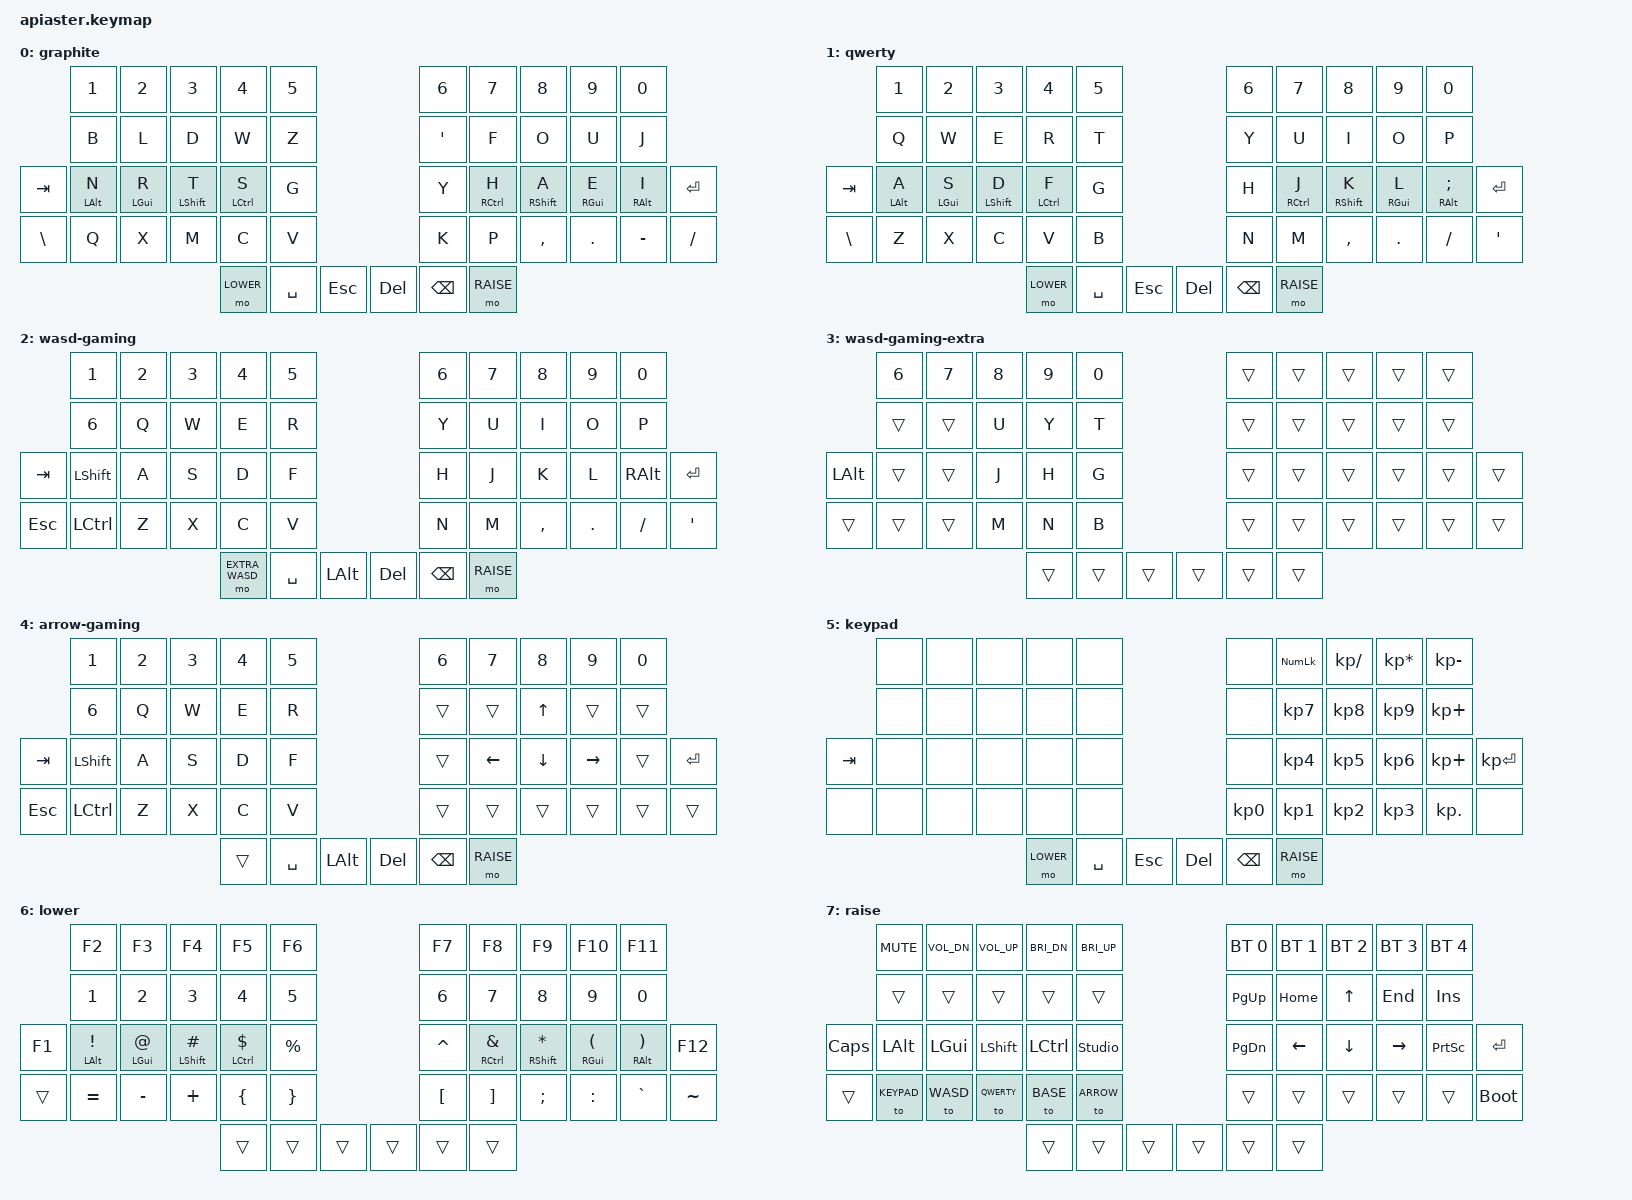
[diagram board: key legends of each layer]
#include <behaviors.dtsi>
#include <dt-bindings/zmk/keys.h>
#include <dt-bindings/zmk/bt.h>

#define BASE 0
#define QWERTY 1
#define WASD 2
#define EXTRA_WASD 3
#define ARROW 4
#define KEYPAD 5
#define LOWER 6
#define RAISE 7

#define KEYS_L 0 1 2 3 4 10 11 12 13 14 20 21 22 23 24 25 32 33 34 35 36 37
#define KEYS_R 5 6 7 8 9 15 16 17 18 19 26 27 28 29 30 31 38 39 40 41 42 43
#define THUMBS_L 44 45 46
#define THUMBS_R 47 48 49

/ {    
    behaviors {
        hl: home_row_hold_tap_left {
            compatible = "zmk,behavior-hold-tap";
            #binding-cells = <2>;
            flavor = "balanced";
            tapping-term-ms = <200>;
            quick-tap-ms = <175>;                // repeat on tap-into-hold
            require-prior-idle-ms = <20>;
            bindings = <&kp>, <&kp>;
            hold-trigger-key-positions = <KEYS_R THUMBS_R>;
            hold-trigger-on-release;             // delay positional check until key-release
        };

        hr: home_row_hold_tap_right {
            compatible = "zmk,behavior-hold-tap";
            #binding-cells = <2>;
            flavor = "balanced";
            tapping-term-ms = <200>;
            quick-tap-ms = <175>;                // repeat on tap-into-hold
            require-prior-idle-ms = <20>;
            bindings = <&kp>, <&kp>;
            hold-trigger-key-positions = <KEYS_L THUMBS_L>;
            hold-trigger-on-release;             // delay positional check until key-release
        };

        td_rst: reset_tap_dance {
            compatible = "zmk,behavior-tap-dance";
            #binding-cells = <0>;
            tapping-term-ms = <200>;
            bindings = <&sys_reset>, <&bootloader>;
        };
    };

    keymap {
        compatible = "zmk,keymap";

        graphite_layer {
            display-name = "graphite";
            bindings = <
          &kp N1     &kp N2     &kp N3      &kp N4      &kp N5                      &kp N6    &kp N7      &kp N8      &kp N9     &kp N0
          &kp B      &kp L      &kp D       &kp W       &kp Z                       &kp SQT     &kp F       &kp O       &kp U    &kp J
&kp TAB   &hl LALT N &hl LGUI R &hl LSHFT T &hl LCTRL S &kp G                       &kp Y     &hr RCTRL H &hr RSHFT A &hr RGUI E &hr RALT I &kp ENTER
&kp BSLH  &kp Q      &kp X      &kp M       &kp C       &kp V                       &kp K     &kp P       &kp COMMA   &kp DOT    &kp MINUS  &kp FSLH
                                            &mo LOWER   &kp SPACE &kp ESC &kp DEL &kp BSPC &mo RAISE
            >;
        };

        qwerty_layer {
            display-name = "qwerty";
            bindings = <
          &kp N1     &kp N2     &kp N3      &kp N4      &kp N5                      &kp N6    &kp N7      &kp N8      &kp N9     &kp N0
          &kp Q      &kp W      &kp E       &kp R       &kp T                       &kp Y     &kp U       &kp I       &kp O      &kp P
&kp TAB   &hl LALT A &hl LGUI S &hl LSHFT D &hl LCTRL F &kp G                       &kp H     &hr RCTRL J &hr RSHFT K &hr RGUI L &hr RALT SEMI &kp ENTER
&kp BSLH  &kp Z      &kp X      &kp C       &kp V       &kp B                       &kp N     &kp M       &kp COMMA   &kp DOT    &kp FSLH      &kp SQT
                                            &mo LOWER   &kp SPACE &kp ESC &kp DEL &kp BSPC &mo RAISE
            >;
        };

        wasd_layer {
            display-name = "wasd-gaming";
            bindings = <
          &kp N1     &kp N2   &kp N3   &kp N4   &kp N5                           &kp N6    &kp N7   &kp N8    &kp N9  &kp N0 
          &kp N6     &kp Q    &kp W    &kp E    &kp R                            &kp Y     &kp U    &kp I     &kp O   &kp P
&kp TAB   &kp LSHFT  &kp A    &kp S    &kp D    &kp F                            &kp H     &kp J    &kp K     &kp L   &kp RALT &kp ENTER
&kp ESC   &kp LCTRL  &kp Z    &kp X    &kp C    &kp V                            &kp N     &kp M    &kp COMMA &kp DOT &kp FSLH &kp SQT
                                       &mo EXTRA_WASD &kp SPACE &kp LALT &kp DEL &kp BSPC  &mo RAISE
            >;
        };

        extra_wasd_layer {
            display-name = "wasd-gaming-extra";
            bindings = <
          &kp N6     &kp N7   &kp N8   &kp N9   &kp N0                 &trans    &trans  &trans  &trans  &trans  
          &trans     &trans   &kp U    &kp Y    &kp T                  &trans    &trans  &trans  &trans  &trans  
&kp LALT  &trans     &trans   &kp J    &kp H    &kp G                  &trans    &trans  &trans  &trans  &trans   &trans  
&trans    &trans     &trans   &kp M    &kp N    &kp B                  &trans    &trans  &trans  &trans  &trans   &trans  
                                       &trans   &trans  &trans  &trans &trans    &trans
            >;
        };

        arrow_layer {
            display-name = "arrow-gaming";
            bindings = <
          &kp N1     &kp N2   &kp N3   &kp N4   &kp N5                           &kp N6    &kp N7    &kp N8   &kp N9    &kp N0 
          &kp N6     &kp Q    &kp W    &kp E    &kp R                            &trans    &trans    &kp UP   &trans    &trans
&kp TAB   &kp LSHFT  &kp A    &kp S    &kp D    &kp F                            &trans    &kp LEFT  &kp DOWN &kp RIGHT &trans &kp ENTER
&kp ESC   &kp LCTRL  &kp Z    &kp X    &kp C    &kp V                            &trans    &trans    &trans   &trans    &trans &trans
                                       &trans   &kp SPACE &kp LALT &kp DEL &kp BSPC  &mo RAISE
            >;
        };

        keypad_layer {
            display-name = "keypad";
            bindings = <
        &none   &none     &none     &none     &none                 &none     &kp KP_NUMLOCK &kp KP_DIVIDE &kp KP_MULTIPLY  &kp KP_SUBTRACT
        &none   &none     &none     &none     &none                 &none     &kp KP_N7      &kp KP_N8     &kp KP_N9        &kp KP_PLUS
&kp TAB &none   &none     &none     &none     &none                 &none     &kp KP_N4      &kp KP_N5     &kp KP_N6        &kp KP_PLUS     &kp KP_ENTER
&none   &none   &none     &none     &none     &none                 &kp KP_N0 &kp KP_N1      &kp KP_N2     &kp KP_N3        &kp KP_DOT      &none
                                    &mo LOWER &kp SPACE &kp ESC     &kp DEL   &kp BSPC       &mo RAISE
            >;
        };

        lower_layer {
            display-name = "lower";
            bindings = <
         &kp F2        &kp F3      &kp F4         &kp F5         &kp F6                  &kp F7    &kp F8         &kp F9          &kp F10       &kp F11   
         &kp N1        &kp N2      &kp N3         &kp N4         &kp N5                  &kp N6    &kp N7         &kp N8          &kp N9        &kp N0    
&kp F1   &hl LALT EXCL &hl LGUI AT &hl LSHFT HASH &hl LCTRL DLLR &kp PRCNT               &kp CARET &hr RCTRL AMPS &hr RSHFT ASTRK &hr RGUI LPAR &hr RALT RPAR &kp F12
&trans   &kp EQUAL     &kp MINUS   &kp PLUS       &kp LBRC       &kp RBRC                &kp LBKT  &kp RBKT       &kp SEMI        &kp COLON     &kp GRAVE     &kp TILDE
                                                  &trans         &trans    &trans &trans &trans    &trans     
            >;
        };

        raise_layer {
            display-name = "raise";
            bindings = <
          &kp C_MUTE &kp C_VOL_DN &kp C_VOL_UP &kp C_BRI_DN &kp C_BRI_UP                 &bt BT_SEL 0 &bt BT_SEL 1 &bt BT_SEL 2 &bt BT_SEL 3 &bt BT_SEL 4
          &trans     &trans       &trans       &trans       &trans                       &kp PG_UP    &kp HOME     &kp UP       &kp END      &kp INS
&kp CLCK  &kp LALT   &kp LGUI     &kp LSHFT    &kp LCTRL    &studio_unlock               &kp PG_DN    &kp LEFT     &kp DOWN     &kp RIGHT    &kp PSCRN    &kp ENTER
&trans    &to KEYPAD &to WASD     &to QWERTY   &to BASE     &to ARROW                    &trans       &trans       &trans       &trans       &trans       &bootloader
                                               &trans       &trans         &trans &trans &trans       &trans 
            >;
        };
    };
};
